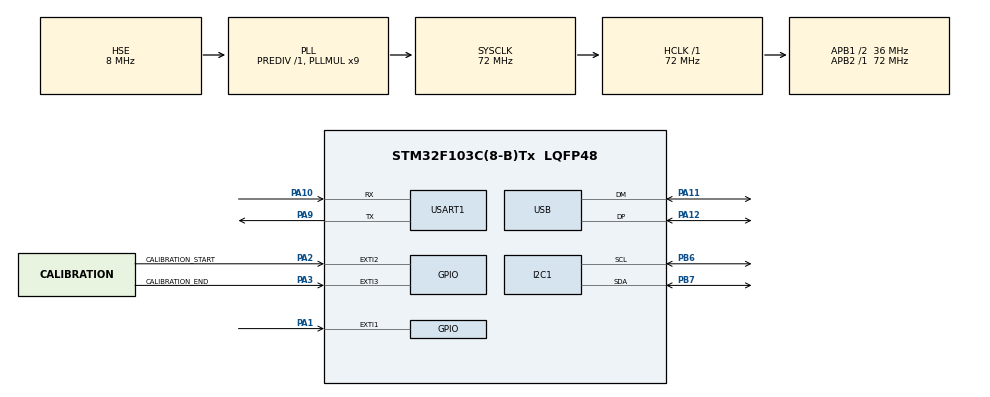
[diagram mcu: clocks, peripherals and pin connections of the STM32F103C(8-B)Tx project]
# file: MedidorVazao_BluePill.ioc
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Mcu.Family=STM32F1
Mcu.Name=STM32F103C(8-B)Tx
Mcu.Package=LQFP48
NVIC.EXTI1_IRQn=true\:0\:0\:false\:false\:true\:true\:true\:true
NVIC.EXTI2_IRQn=true\:0\:0\:false\:false\:true\:true\:true\:true
NVIC.EXTI3_IRQn=true\:0\:0\:false\:false\:true\:true\:true\:true
NVIC.PriorityGroup=NVIC_PRIORITYGROUP_4
NVIC.TIM2_IRQn=true\:0\:0\:false\:false\:true\:true\:true\:true
NVIC.USB_LP_CAN1_RX0_IRQn=true\:0\:0\:false\:false\:true\:false\:true\:true
PA1.GPIO_PuPd=GPIO_PULLDOWN
PA1.Signal=GPXTI1
PA10.Mode=Asynchronous
PA10.Signal=USART1_RX
PA11.Mode=Device
PA11.Signal=USB_DM
PA12.Mode=Device
PA12.Signal=USB_DP
PA13.Mode=Serial_Wire
PA13.Signal=SYS_JTMS-SWDIO
PA14.Mode=Serial_Wire
PA14.Signal=SYS_JTCK-SWCLK
PA2.GPIO_Label=CALIBRATION_START
PA2.GPIO_PuPd=GPIO_PULLDOWN
PA2.Signal=GPXTI2
PA3.GPIO_Label=CALIBRATION_END
PA3.GPIO_PuPd=GPIO_PULLDOWN
PA3.Signal=GPXTI3
PA9.Mode=Asynchronous
PA9.Signal=USART1_TX
PB6.Mode=I2C
PB6.Signal=I2C1_SCL
PB7.Mode=I2C
PB7.Signal=I2C1_SDA
PD0-OSC_IN.Mode=HSE-External-Oscillator
PD0-OSC_IN.Signal=RCC_OSC_IN
PD1-OSC_OUT.Mode=HSE-External-Oscillator
PD1-OSC_OUT.Signal=RCC_OSC_OUT
ProjectManager.HeapSize=0x200
ProjectManager.StackSize=0x400
ProjectManager.TargetToolchain=STM32CubeIDE
RCC.AHBFreq_Value=72000000
RCC.APB1CLKDivider=RCC_HCLK_DIV2
RCC.APB1Freq_Value=36000000
RCC.APB1TimFreq_Value=72000000
RCC.APB2Freq_Value=72000000
RCC.APB2TimFreq_Value=72000000
RCC.HCLKFreq_Value=72000000
RCC.PLLMUL=RCC_PLL_MUL9
RCC.SYSCLKFreq_VALUE=72000000
RCC.SYSCLKSource=RCC_SYSCLKSOURCE_PLLCLK
RCC.USBFreq_Value=48000000
RCC.USBPrescaler=RCC_USBCLKSOURCE_PLL_DIV1_5
TIM2.Period=20000-1
TIM2.Prescaler=3600-1
TIM2.TIM_MasterOutputTrigger=TIM_TRGO_RESET
USART1.VirtualMode=VM_ASYNC
USB_DEVICE.CLASS_NAME_FS=DFU
USB_DEVICE.VirtualMode=Dfu
USB_DEVICE.VirtualModeFS=Dfu_FS
VP_TIM2_VS_ClockSourceINT.Mode=Internal
VP_USB_DEVICE_VS_USB_DEVICE_DFU_FS.Mode=DFU_FS
board=custom

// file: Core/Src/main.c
/* USER CODE BEGIN Header */
/**
  ******************************************************************************
  * @file           : main.c
  * @brief          : Main program body
  ******************************************************************************
  * @attention
  *
  * Copyright (c) 2025 STMicroelectronics.
  * All rights reserved.
  *
  * This software is licensed under terms that can be found in the LICENSE file
  * in the root directory of this software component.
  * If no LICENSE file comes with this software, it is provided AS-IS.
  *
  ******************************************************************************
  */
/* USER CODE END Header */
#include "main.h"
#include "usb_device.h"

/* USER CODE BEGIN Includes */
#include <stdio.h>
#include "I2C_LCD.h"
#include "I2C_LCD_cfg.h"
/* USER CODE END Includes */

/* USER CODE BEGIN PD */
#define MyI2C_LCD I2C_LCD_1
/* USER CODE END PD */

I2C_HandleTypeDef hi2c1;

TIM_HandleTypeDef htim2;

UART_HandleTypeDef huart1;

/* USER CODE BEGIN PV */
volatile uint32_t TOTAL_COUNTER = 0;
volatile uint32_t CALIBRATION_TOTAL_COUNTER = 0;
volatile uint16_t COUNTER = 0;
volatile uint16_t SAVED_COUNTER = 0;
volatile uint16_t CALIBRATION_SAVED_COUNTER = 0;
volatile uint8_t COUNTER_FLAG = 0;
float FLUXO = 0;

uint8_t CALIBRATION_TEST_START = 0;
uint8_t CALIBRATION_TEST_END = 0;
uint8_t TEST_FLAG = 0;

volatile float FACTOR = 7.5f;

char FLUXO_CHAR[15]; // '1 2 . 3 4'
char COUNTER_CHAR[7];
char FACTOR_CHAR[7];
char CALIBRATION_SAVED_COUNTER_CHAR[7];

/* USER CODE END PV */

void SystemClock_Config(void);
static void MX_GPIO_Init(void);
static void MX_I2C1_Init(void);
static void MX_TIM2_Init(void);
static void MX_USART1_UART_Init(void);
/* USER CODE BEGIN PFP */
//void HAL_GPIO_EXTI_Callback(uint16_t GPIO_Pin);
/* USER CODE END PFP */

int main(void)
{

  /* MCU Configuration--------------------------------------------------------*/

  /* Reset of all peripherals, Initializes the Flash interface and the Systick. */
  HAL_Init();

  /* Configure the system clock */
  SystemClock_Config();

  /* Initialize all configured peripherals */
  MX_GPIO_Init();
  MX_I2C1_Init();
  MX_TIM2_Init();
  MX_USART1_UART_Init();
  MX_USB_DEVICE_Init();
  /* USER CODE BEGIN 2 */
  HAL_TIM_Base_Start_IT(&htim2);
  I2C_LCD_Init(MyI2C_LCD);

  I2C_LCD_Backlight(MyI2C_LCD);
  /* USER CODE END 2 */

  /* Infinite loop */
  while (1)
  {

    /* USER CODE BEGIN 3 */

	if ((COUNTER_FLAG == 1) && (CALIBRATION_TEST_END == 0)){
		// Frequency = 7.5 * Flux (L/min)
		FLUXO = (float) SAVED_COUNTER / FACTOR;
		sprintf(FLUXO_CHAR, "%.2f", FLUXO);
		sprintf(COUNTER_CHAR, "%lu", SAVED_COUNTER);

		I2C_LCD_SetCursor(MyI2C_LCD, 0, 0);
		I2C_LCD_WriteString(MyI2C_LCD, "Fluxo:");
		I2C_LCD_SetCursor(MyI2C_LCD, 9, 0);
		I2C_LCD_WriteString(MyI2C_LCD, FLUXO_CHAR);

		I2C_LCD_SetCursor(MyI2C_LCD, 0, 1);
		I2C_LCD_WriteString(MyI2C_LCD, "Pulsos:");
		I2C_LCD_SetCursor(MyI2C_LCD, 9, 1);
		I2C_LCD_WriteString(MyI2C_LCD, COUNTER_CHAR);

		printf("Fluxo: %.2f L/min\n", FLUXO);
		printf("Pulsos: %lu \n\n", SAVED_COUNTER);

		COUNTER_FLAG = 0;
	}

	if(CALIBRATION_TEST_END == 1){
		float CALIBRATION_VOLUME = 0.1f; // 0.1 L
		FACTOR = (float) CALIBRATION_SAVED_COUNTER / (CALIBRATION_VOLUME * 60.0);

		sprintf(CALIBRATION_SAVED_COUNTER_CHAR, "%.2f", CALIBRATION_SAVED_COUNTER);
		sprintf(FACTOR_CHAR, "%.2f", FACTOR);

		I2C_LCD_SetCursor(MyI2C_LCD, 0, 0);
		I2C_LCD_WriteString(MyI2C_LCD, "Pulsos(C): ");
		I2C_LCD_SetCursor(MyI2C_LCD, 12, 0);
		I2C_LCD_WriteString(MyI2C_LCD, CALIBRATION_SAVED_COUNTER_CHAR);

		I2C_LCD_SetCursor(MyI2C_LCD, 0, 1);
		I2C_LCD_WriteString(MyI2C_LCD, "Fator: ");
		I2C_LCD_SetCursor(MyI2C_LCD, 8, 1);
		I2C_LCD_WriteString(MyI2C_LCD, CALIBRATION_SAVED_COUNTER_CHAR);

		printf("Fator calibrado: : %.2f L/min\n", FLUXO);
		printf("Pulsos (calibracao): %lu \n\n", CALIBRATION_SAVED_COUNTER);
		CALIBRATION_TEST_END = 0;

		HAL_Delay(5000);
	}
  }
  /* USER CODE END 3 */
}

void SystemClock_Config(void)
{
  RCC_OscInitTypeDef RCC_OscInitStruct = {0};
  RCC_ClkInitTypeDef RCC_ClkInitStruct = {0};
  RCC_PeriphCLKInitTypeDef PeriphClkInit = {0};

  /** Initializes the RCC Oscillators according to the specified parameters
  * in the RCC_OscInitTypeDef structure.
  */
  RCC_OscInitStruct.OscillatorType = RCC_OSCILLATORTYPE_HSE;
  RCC_OscInitStruct.HSEState = RCC_HSE_ON;
  RCC_OscInitStruct.HSEPredivValue = RCC_HSE_PREDIV_DIV1;
  RCC_OscInitStruct.HSIState = RCC_HSI_ON;
  RCC_OscInitStruct.PLL.PLLState = RCC_PLL_ON;
  RCC_OscInitStruct.PLL.PLLSource = RCC_PLLSOURCE_HSE;
  RCC_OscInitStruct.PLL.PLLMUL = RCC_PLL_MUL9;
  if (HAL_RCC_OscConfig(&RCC_OscInitStruct) != HAL_OK)
  {
    Error_Handler();
  }

  /** Initializes the CPU, AHB and APB buses clocks
  */
  RCC_ClkInitStruct.ClockType = RCC_CLOCKTYPE_HCLK|RCC_CLOCKTYPE_SYSCLK
                              |RCC_CLOCKTYPE_PCLK1|RCC_CLOCKTYPE_PCLK2;
  RCC_ClkInitStruct.SYSCLKSource = RCC_SYSCLKSOURCE_PLLCLK;
  RCC_ClkInitStruct.AHBCLKDivider = RCC_SYSCLK_DIV1;
  RCC_ClkInitStruct.APB1CLKDivider = RCC_HCLK_DIV2;
  RCC_ClkInitStruct.APB2CLKDivider = RCC_HCLK_DIV1;

  if (HAL_RCC_ClockConfig(&RCC_ClkInitStruct, FLASH_LATENCY_2) != HAL_OK)
  {
    Error_Handler();
  }
  PeriphClkInit.PeriphClockSelection = RCC_PERIPHCLK_USB;
  PeriphClkInit.UsbClockSelection = RCC_USBCLKSOURCE_PLL_DIV1_5;
  if (HAL_RCCEx_PeriphCLKConfig(&PeriphClkInit) != HAL_OK)
  {
    Error_Handler();
  }
}

static void MX_I2C1_Init(void)
{

  hi2c1.Instance = I2C1;
  hi2c1.Init.ClockSpeed = 100000;
  hi2c1.Init.DutyCycle = I2C_DUTYCYCLE_2;
  hi2c1.Init.OwnAddress1 = 0;
  hi2c1.Init.AddressingMode = I2C_ADDRESSINGMODE_7BIT;
  hi2c1.Init.DualAddressMode = I2C_DUALADDRESS_DISABLE;
  hi2c1.Init.OwnAddress2 = 0;
  hi2c1.Init.GeneralCallMode = I2C_GENERALCALL_DISABLE;
  hi2c1.Init.NoStretchMode = I2C_NOSTRETCH_DISABLE;
  if (HAL_I2C_Init(&hi2c1) != HAL_OK)
  {
    Error_Handler();
  }

}

static void MX_TIM2_Init(void)
{

  TIM_ClockConfigTypeDef sClockSourceConfig = {0};
  TIM_MasterConfigTypeDef sMasterConfig = {0};

  htim2.Instance = TIM2;
  htim2.Init.Prescaler = 3600-1;
  htim2.Init.CounterMode = TIM_COUNTERMODE_UP;
  htim2.Init.Period = 20000-1;
  htim2.Init.ClockDivision = TIM_CLOCKDIVISION_DIV1;
  htim2.Init.AutoReloadPreload = TIM_AUTORELOAD_PRELOAD_DISABLE;
  if (HAL_TIM_Base_Init(&htim2) != HAL_OK)
  {
    Error_Handler();
  }
  sClockSourceConfig.ClockSource = TIM_CLOCKSOURCE_INTERNAL;
  if (HAL_TIM_ConfigClockSource(&htim2, &sClockSourceConfig) != HAL_OK)
  {
    Error_Handler();
  }
  sMasterConfig.MasterOutputTrigger = TIM_TRGO_RESET;
  sMasterConfig.MasterSlaveMode = TIM_MASTERSLAVEMODE_DISABLE;
  if (HAL_TIMEx_MasterConfigSynchronization(&htim2, &sMasterConfig) != HAL_OK)
  {
    Error_Handler();
  }

}

static void MX_USART1_UART_Init(void)
{

  huart1.Instance = USART1;
  huart1.Init.BaudRate = 115200;
  huart1.Init.WordLength = UART_WORDLENGTH_8B;
  huart1.Init.StopBits = UART_STOPBITS_1;
  huart1.Init.Parity = UART_PARITY_NONE;
  huart1.Init.Mode = UART_MODE_TX_RX;
  huart1.Init.HwFlowCtl = UART_HWCONTROL_NONE;
  huart1.Init.OverSampling = UART_OVERSAMPLING_16;
  if (HAL_UART_Init(&huart1) != HAL_OK)
  {
    Error_Handler();
  }

}

static void MX_GPIO_Init(void)
{
  GPIO_InitTypeDef GPIO_InitStruct = {0};

  /* GPIO Ports Clock Enable */
  __HAL_RCC_GPIOD_CLK_ENABLE();
  __HAL_RCC_GPIOA_CLK_ENABLE();
  __HAL_RCC_GPIOB_CLK_ENABLE();

  /*Configure GPIO pins : PA1 CALIBRATION_START_Pin CALIBRATION_END_Pin */
  GPIO_InitStruct.Pin = GPIO_PIN_1|CALIBRATION_START_Pin|CALIBRATION_END_Pin;
  GPIO_InitStruct.Mode = GPIO_MODE_IT_RISING;
  GPIO_InitStruct.Pull = GPIO_PULLDOWN;
  HAL_GPIO_Init(GPIOA, &GPIO_InitStruct);

  /* EXTI interrupt init*/
  HAL_NVIC_SetPriority(EXTI1_IRQn, 0, 0);
  HAL_NVIC_EnableIRQ(EXTI1_IRQn);

  HAL_NVIC_SetPriority(EXTI2_IRQn, 0, 0);
  HAL_NVIC_EnableIRQ(EXTI2_IRQn);

  HAL_NVIC_SetPriority(EXTI3_IRQn, 0, 0);
  HAL_NVIC_EnableIRQ(EXTI3_IRQn);

}

/* USER CODE BEGIN 4 */
void HAL_GPIO_EXTI_Callback(uint16_t GPIO_Pin)
{
    if(GPIO_Pin == GPIO_PIN_1){
    	COUNTER++;
    }
    if(GPIO_Pin == CALIBRATION_START_Pin){
    	CALIBRATION_TOTAL_COUNTER = 0;
    	CALIBRATION_TEST_START = 1;
    }
    if(GPIO_Pin == CALIBRATION_END_Pin){
    	CALIBRATION_SAVED_COUNTER = CALIBRATION_TOTAL_COUNTER;
    	CALIBRATION_TEST_END = 1;
	}
}

void HAL_TIM_PeriodElapsedCallback(TIM_HandleTypeDef *htim)
{
	if (htim->Instance == TIM2){
		TOTAL_COUNTER += COUNTER;
		CALIBRATION_TOTAL_COUNTER += COUNTER;
		SAVED_COUNTER = COUNTER;
		COUNTER_FLAG = 1;
		COUNTER = 0;
	}
}

int _write(int file, char *ptr, int len)
{
  (void)file;
  int DataIdx;

  for (DataIdx = 0; DataIdx < len; DataIdx++)
  {
    ITM_SendChar(*ptr++);
  }
  return len;
}
/* USER CODE END 4 */

void Error_Handler(void)
{
  __disable_irq();
  while (1)
  {
  }
}
